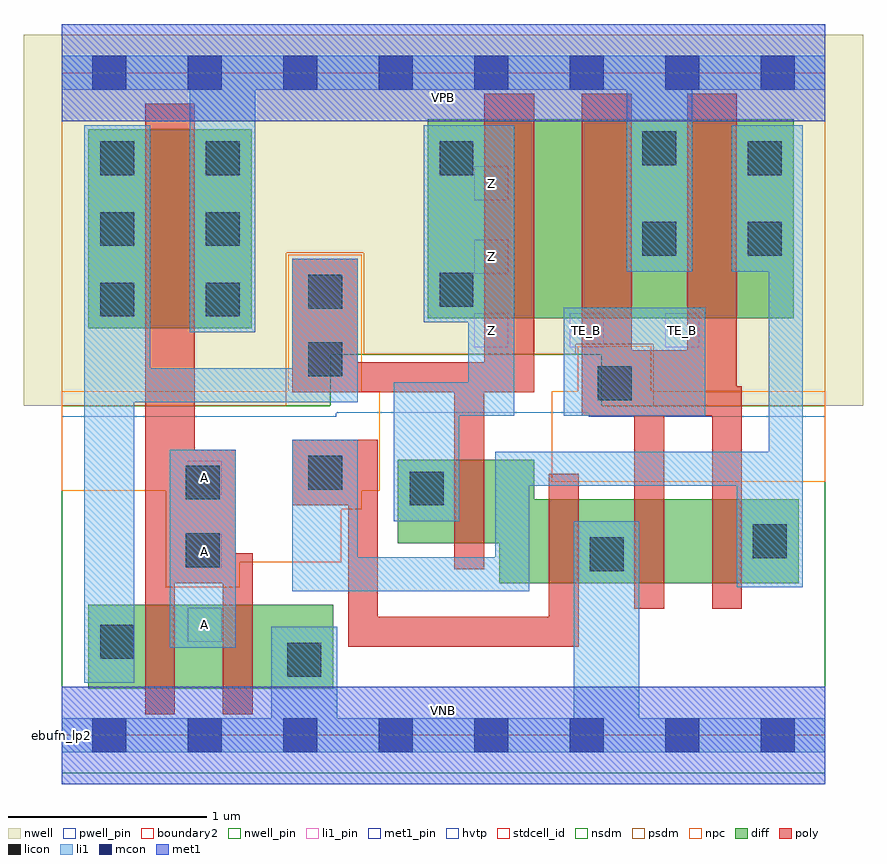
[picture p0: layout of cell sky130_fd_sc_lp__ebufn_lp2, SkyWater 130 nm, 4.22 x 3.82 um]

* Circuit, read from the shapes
.subckt sky130_fd_sc_lp__ebufn_lp2 A TE_B VGND VNB VPB VPWR Z
XM1 n1 A n2 VNB sky130_fd_pr__nfet_01v8 w=0.42 l=0.15
XM2 VGND A n1 VNB sky130_fd_pr__nfet_01v8 w=0.42 l=0.15
XM3 n3 n2 Z VNB sky130_fd_pr__nfet_01v8 w=0.42 l=0.15
XM4 VGND n4 n3 VNB sky130_fd_pr__nfet_01v8 w=0.42 l=0.15
XM5 n5 TE_B VGND VNB sky130_fd_pr__nfet_01v8 w=0.42 l=0.15
XM6 n4 TE_B n5 VNB sky130_fd_pr__nfet_01v8 w=0.42 l=0.15
XM7 VPWR A n2 VPB sky130_fd_pr__pfet_01v8_hvt w=1 l=0.25
XM8 n6 n2 Z VPB sky130_fd_pr__pfet_01v8_hvt w=1 l=0.25
XM9 VPWR TE_B n6 VPB sky130_fd_pr__pfet_01v8_hvt w=1 l=0.25
XM10 n4 TE_B VPWR VPB sky130_fd_pr__pfet_01v8_hvt w=1 l=0.25
.ends

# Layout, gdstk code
import gdstk
lib = gdstk.Library(unit=1e-6, precision=1e-09)
def R(c, l, rs):  # rectangles x0, y0, x1, y1
    for r in rs: c.add(gdstk.rectangle(r[:2], r[2:], *l))
def A(c, l, x, y, w, h, nx, ny, dx, dy):  # array of equal rectangles
    R(c, l, [(x+i*dx, y+j*dy, x+i*dx+w, y+j*dy+h) for i in range(nx) for j in range(ny)])
def P(c, l, *ps):  # polygons
    for p in ps: c.add(gdstk.Polygon(p, *l))
nwell_pin = (64, 16)
nwell = (64, 20)
diff = (65, 20)
poly = (66, 20)
licon = (66, 44)
li1_pin = (67, 16)
li1 = (67, 20)
mcon = (67, 44)
met1_pin = (68, 16)
met1 = (68, 20)
hvtp = (78, 44)
stdcell_id = (81, 4)
nsdm = (93, 44)
psdm = (94, 20)
npc = (95, 20)
pwell_pin = (122, 16)
boundary2 = (236, 0)

sky130_fd_sc_lp__ebufn_l = lib.new_cell('sky130_fd_sc_lp__ebufn_lp2')
R(sky130_fd_sc_lp__ebufn_l, nwell_pin, [(0,3.085,3.84,3.33)])
P(sky130_fd_sc_lp__ebufn_l, nwell, [(4.03,3.52),(-0.19,3.52),(-0.19,1.655),(1.35,1.655),(1.35,1.915),(2.715,1.915),(2.715,1.655),(4.03,1.655)])
R(sky130_fd_sc_lp__ebufn_l, diff, [(0.135,0.235,1.365,0.655), (0.135,2.045,0.955,3.045), (1.84,2.095,3.68,3.095)])
P(sky130_fd_sc_lp__ebufn_l, diff, [(3.705,1.185),(2.375,1.185),(2.375,1.385),(1.69,1.385),(1.69,0.965),(2.2,0.965),(2.2,0.765),(3.705,0.765)])
P(sky130_fd_sc_lp__ebufn_l, poly, [(0.96,0.915),(0.875,0.915),(0.875,1.435),(0.67,1.435),(0.67,3.175),(0.42,3.175),(0.42,0.105),(0.57,0.105),(0.57,0.765),(0.81,0.765),(0.81,0.105),(0.96,0.105)],
  [(2.375,3.225),(2.125,3.225),(2.125,1.875),(1.49,1.875),(1.49,2.395),(1.16,2.395),(1.16,1.725),(1.975,1.725),(1.975,0.835),(2.125,0.835),(2.125,1.725),(2.375,1.725)],
  [(2.6,1.315),(2.45,1.315),(2.45,0.595),(1.59,0.595),(1.59,1.485),(1.16,1.485),(1.16,1.155),(1.44,1.155),(1.44,0.445),(2.6,0.445)],
  [(3.42,1.755),(3.395,1.755),(3.395,3.225),(3.145,3.225),(3.145,1.935),(2.865,1.935),(2.865,3.225),(2.615,3.225),(2.615,1.605),(2.88,1.605),(2.88,0.635),(3.03,0.635),(3.03,1.605),(3.27,1.605),(3.27,0.635),(3.42,0.635)])
A(sky130_fd_sc_lp__ebufn_l, licon, 0.195, 2.105, 0.17, 0.17, 1, 3, 0, 0.355)
A(sky130_fd_sc_lp__ebufn_l, licon, 0.725, 2.105, 0.17, 0.17, 1, 3, 0, 0.355)
R(sky130_fd_sc_lp__ebufn_l, licon, [(1.135,0.295,1.305,0.465), (0.195,0.385,0.365,0.555), (2.655,0.825,2.825,0.995), (0.625,0.845,0.795,1.015), (3.475,0.89,3.645,1.06), (1.75,1.155,1.92,1.325), (0.625,1.185,0.795,1.355), (1.24,1.235,1.41,1.405), (2.695,1.685,2.865,1.855), (1.24,1.805,1.41,1.975), (1.24,2.145,1.41,2.315), (1.9,2.155,2.07,2.325), (2.92,2.41,3.09,2.58), (3.45,2.41,3.62,2.58), (1.9,2.815,2.07,2.985), (3.45,2.815,3.62,2.985), (2.92,2.865,3.09,3.035)])
A(sky130_fd_sc_lp__ebufn_l, li1_pin, 0.635, 0.47, 0.17, 0.17, 1, 3, 0, 0.37)
A(sky130_fd_sc_lp__ebufn_l, li1_pin, 2.075, 1.95, 0.17, 0.17, 3, 1, 0.48, 0)
R(sky130_fd_sc_lp__ebufn_l, li1_pin, [(2.075,2.32,2.245,2.49), (2.075,2.69,2.245,2.86)])
R(sky130_fd_sc_lp__ebufn_l, li1, [(0.545,0.44,0.875,1.435), (2.525,1.605,3.235,2.15)])
P(sky130_fd_sc_lp__ebufn_l, li1, [(0.645,2.025),(0.645,3.245),(0,3.245),(0,3.415),(3.84,3.415),(3.84,3.245),(3.17,3.245),(3.17,2.33),(2.84,2.33),(2.84,3.245),(0.975,3.245),(0.975,2.025)],
  [(1.055,0.085),(1.055,0.545),(1.385,0.545),(1.385,0.085),(2.575,0.085),(2.575,1.075),(2.905,1.075),(2.905,0.085),(3.84,0.085),(3.84,-0.085),(0,-0.085),(0,0.085)],
  [(2.18,1.425),(3.555,1.425),(3.555,2.33),(3.37,2.33),(3.37,3.065),(3.725,3.065),(3.725,0.745),(3.395,0.745),(3.395,1.255),(2.35,1.255),(2.35,0.725),(1.16,0.725),(1.16,1.485),(1.49,1.485),(1.49,0.895),(2.18,0.895)],
  [(2.045,1.775),(2.045,2.075),(1.82,2.075),(1.82,3.065),(2.275,3.065),(2.275,1.605),(2,1.605),(2,1.075),(1.67,1.075),(1.67,1.775)],
  [(0.445,1.845),(1.16,1.845),(1.16,2.395),(1.49,2.395),(1.49,1.675),(0.365,1.675),(0.365,0.265),(0.115,0.265),(0.115,3.065),(0.445,3.065)])
A(sky130_fd_sc_lp__ebufn_l, mcon, 0.155, -0.085, 0.17, 0.17, 8, 2, 0.48, 3.33)
R(sky130_fd_sc_lp__ebufn_l, met1_pin, [(0,0,3.84,0.245), (0,3.085,3.84,3.33)])
R(sky130_fd_sc_lp__ebufn_l, met1, [(0,-0.245,3.84,0.245), (0,3.085,3.84,3.575)])
P(sky130_fd_sc_lp__ebufn_l, hvtp, [(3.84,3.33),(0,3.33),(0,1.6),(1.38,1.6),(1.38,1.62),(2.65,1.62),(2.65,1.6),(3.84,1.6)])
R(sky130_fd_sc_lp__ebufn_l, stdcell_id, [(0,0,3.84,3.33)])
P(sky130_fd_sc_lp__ebufn_l, nsdm, [(3.84,1.655),(2.715,1.655),(2.715,1.915),(1.35,1.915),(1.35,1.655),(0,1.655),(0,-0.19),(3.84,-0.19)])
P(sky130_fd_sc_lp__ebufn_l, psdm, [(3.84,3.52),(0,3.52),(0,1.655),(1.13,1.655),(1.13,2.425),(1.52,2.425),(1.52,1.915),(2.585,1.915),(2.585,1.965),(2.975,1.965),(2.975,1.655),(3.84,1.655)])
P(sky130_fd_sc_lp__ebufn_l, npc, [(3.84,1.73),(2.965,1.73),(2.965,1.955),(2.595,1.955),(2.595,1.73),(2.465,1.73),(2.465,1.275),(3.84,1.275)],
  [(1.6,1.73),(1.51,1.73),(1.51,2.415),(1.14,2.415),(1.14,1.73),(0,1.73),(0,1.23),(0.525,1.23),(0.525,0.745),(0.895,0.745),(0.895,0.87),(1.405,0.87),(1.405,1.135),(1.51,1.135),(1.51,1.23),(1.6,1.23)])
R(sky130_fd_sc_lp__ebufn_l, pwell_pin, [(0,0,3.84,0.245)])
R(sky130_fd_sc_lp__ebufn_l, boundary2, [(0,0,3.84,3.33)])
sky130_fd_sc_lp__ebufn_l.add(gdstk.Label('VNB', (1.92,0.123), layer=64, texttype=59))
sky130_fd_sc_lp__ebufn_l.add(gdstk.Label('VPB', (1.92,3.208), layer=64, texttype=5))
sky130_fd_sc_lp__ebufn_l.add(gdstk.Label('ebufn_lp2', (0,0), layer=83, texttype=44))
sky130_fd_sc_lp__ebufn_l.add(gdstk.Label('VPWR', (1.92,3.208), layer=68, texttype=5))
sky130_fd_sc_lp__ebufn_l.add(gdstk.Label('VGND', (1.92,0.123), layer=68, texttype=5))
sky130_fd_sc_lp__ebufn_l.add(gdstk.Label('TE_B', (2.64,2.035), layer=67, texttype=5))
sky130_fd_sc_lp__ebufn_l.add(gdstk.Label('TE_B', (3.12,2.035), layer=67, texttype=5))
sky130_fd_sc_lp__ebufn_l.add(gdstk.Label('Z', (2.16,2.035), layer=67, texttype=5))
sky130_fd_sc_lp__ebufn_l.add(gdstk.Label('Z', (2.16,2.405), layer=67, texttype=5))
sky130_fd_sc_lp__ebufn_l.add(gdstk.Label('Z', (2.16,2.775), layer=67, texttype=5))
sky130_fd_sc_lp__ebufn_l.add(gdstk.Label('A', (0.72,0.555), layer=67, texttype=5))
sky130_fd_sc_lp__ebufn_l.add(gdstk.Label('A', (0.72,0.925), layer=67, texttype=5))
sky130_fd_sc_lp__ebufn_l.add(gdstk.Label('A', (0.72,1.295), layer=67, texttype=5))

lib.write_gds('sky130_fd_sc_lp__ebufn_lp2.gds')
